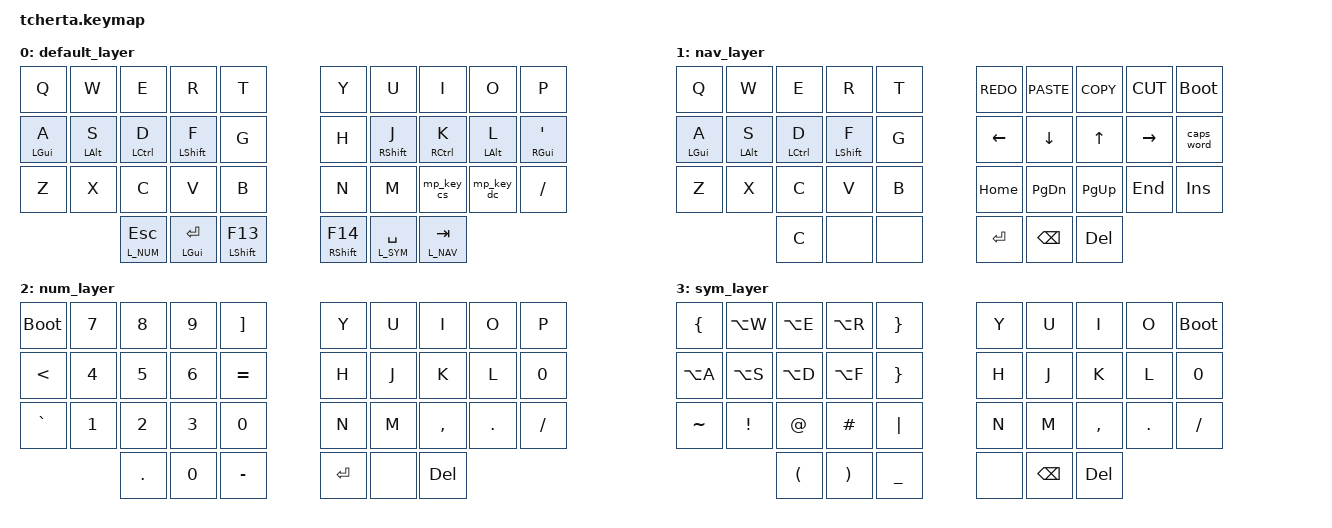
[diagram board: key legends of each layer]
/*
*
* Copyright (c) 2021 Darryl deHaan
* SPDX-License-Identifier: MIT
*
*/

#include <behaviors.dtsi>
#include <dt-bindings/zmk/keys.h>
#include <dt-bindings/zmk/bt.h>
#include "zmk-helpers/helper.h"

// layers
#define DEFAULT 0
#define L_NAV 1
#define L_NUM 2
#define L_SYM 3

/ {
    chosen {
        zmk,physical-layout = &physical_layout0;
    };
};

// Horizontal combos - left hand
// Should work fine, but some ansi-iso conflict forces to use the "grave"
// ZMK_COMBO(tilde, &kp NON_US_BSLH, 2 3, DEFAULT)
ZMK_COMBO(tilde, &kp GRAVE, 2 3, DEFAULT)

ZMK_COMBO(under, &kp UNDER, 22 23, DEFAULT)
//ZMK_COMBO(esc, &kp ESC, 26 27, DEFAULT)
ZMK_COMBO(tab, &kp TAB, 12 13, DEFAULT)

ZMK_COMBO(capsword, &caps_word, 30 35, DEFAULT)
ZMK_COMBO(sticky_shift, &skq LSHIFT, 31 34, DEFAULT)

// Horizontal combos - right hand
    //ZMK_COMBO(lpar_lt, &mp_lpar_lt, 32 33, DEFAULT)

// Those are geometrically natural, but it seems that DEL is pressed more easily,
// so I swapped them, BS is much more often neededed
//ZMK_COMBO(bspc, &kp BSPC, 19 20, DEFAULT)
//ZMK_COMBO(del, &kp DEL, 20 21, DEFAULT)
ZMK_COMBO(del, &kp DEL, 6 7, DEFAULT)
ZMK_COMBO(bspc, &kp BSPC, 7 8, DEFAULT)

ZMK_COMBO(lpar_lt, &mp_lpar_lt, 16 17, DEFAULT)
ZMK_COMBO(rpar_gt, &mp_rpar_gt, 17 18, DEFAULT)
ZMK_COMBO(lbrc_lbkt, &mp_lbrc_lbkt, 26 27, DEFAULT)
ZMK_COMBO(rbrc_rbkt, &mp_rbrc_rbkt, 27 28, DEFAULT)
ZMK_COMBO(pars, &mp_duo_par_ltgt, 16 17 18, DEFAULT)
ZMK_COMBO(bkts, &mp_duo_bkt, 26 27 28, DEFAULT)

// Vertical combos - left hand top row
ZMK_COMBO(excl, &kp EXCL, 0  10, DEFAULT)
ZMK_COMBO(at, &kp AT, 1 11, DEFAULT)
ZMK_COMBO(hash, &kp HASH, 2 12, DEFAULT)
ZMK_COMBO(dllr, &kp DLLR, 3 13, DEFAULT)
ZMK_COMBO(prcnt, &kp PRCNT, 4 14, DEFAULT)

// Vertical combos - left hand bottom row
ZMK_COMBO(grave, &kp GRAVE, 11 21, DEFAULT)
ZMK_COMBO(bslh, &kp BSLH, 12 22, DEFAULT)
ZMK_COMBO(equal, &kp EQUAL, 13 23, DEFAULT)

// Vertical combos - right hand top row
ZMK_COMBO(minus, &kp MINUS, 6 16, DEFAULT)
ZMK_COMBO(star, &kp STAR, 7 17, DEFAULT)
ZMK_COMBO(amps, &kp AMPS, 8 18, DEFAULT)

// Vertical combos - right hand bootom row
ZMK_COMBO(caret, &kp CARET, 15 25, DEFAULT)
ZMK_COMBO(plus, &kp PLUS, 16 26, DEFAULT)
ZMK_COMBO(fslh, &kp FSLH, 17 27, DEFAULT)
ZMK_COMBO(pipe, &kp PIPE, 18 28, DEFAULT)

/ {

    macros {
        macro_duo_kp: macro_duo_kp {
            compatible = "zmk,behavior-macro-two-param";
            #binding-cells = <2>;
            bindings = <&macro_param_1to1> , <&macro_tap &kp MACRO_PLACEHOLDER>
                     , <&macro_param_2to1> , <&macro_tap &kp MACRO_PLACEHOLDER>;
        };

        // A hack to make the ; (Shift-,) work. It doesn't work perfectly
        // (Shift- and continuout taps of , produce ;,,,,), but acceptable.
        semi_clean: semi_clean {
            compatible = "zmk,behavior-macro";
            #binding-cells = <0>;
            wait-ms = <10>;
            tap-ms = <10>;
            bindings
            = <&macro_release &kp LSHFT &kp RSHFT>
            , <&macro_press &kp SEMI>
            , <&macro_pause_for_release>
            , <&macro_release &kp SEMI>
            ;
        };

    };

    behaviors {

        // tap:     {}
        // shift:   []
        mp_duo_bkt: morph_duo_bkt {
            compatible = "zmk,behavior-mod-morph";
            #binding-cells = <0>;
            mods = <(MOD_LSFT|MOD_RSFT)>;
            bindings = <&macro_duo_kp LBRC RBRC>, <&macro_duo_kp LBKT RBKT>;
        };

        // tap:     ()
        // shift:   <>
        mp_duo_par_ltgt: morph_duo_par_ltgt {
            compatible = "zmk,behavior-mod-morph";
            #binding-cells = <0>;
            mods = <(MOD_LSFT|MOD_RSFT)>;
            bindings = <&macro_duo_kp LPAR RPAR>, <&macro_duo_kp LT GT>;
        };

        // tap:     {
        // shift:   [
        mp_lbrc_lbkt: morph_lbrc_lbkt {
            compatible = "zmk,behavior-mod-morph";
            #binding-cells = <0>;
            mods = <(MOD_LSFT|MOD_RSFT)>;
            bindings = <&kp LBRC>, <&kp LBKT>;
        };

        // tap:     }
        // shift:   ]
        mp_rbrc_rbkt: morph_rbrc_rbkt {
            compatible = "zmk,behavior-mod-morph";
            #binding-cells = <0>;
            mods = <(MOD_LSFT|MOD_RSFT)>;
            bindings = <&kp RBRC>, <&kp RBKT>;
        };

        // tap:     (
        // shift:   <
        mp_lpar_lt: morph_lpar_lt {
            compatible = "zmk,behavior-mod-morph";
            #binding-cells = <0>;
            mods = <(MOD_LSFT|MOD_RSFT)>;
            bindings = <&kp LPAR>, <&kp LT>;
        };

        // tap:     )
        // shift:   >
        mp_rpar_gt: morph_rpar_gt {
            compatible = "zmk,behavior-mod-morph";
            #binding-cells = <0>;
            mods = <(MOD_LSFT|MOD_RSFT)>;
            bindings = <&kp RPAR>, <&kp GT>;
        };

        // tap:     ,
        // shift:   ;
        /* this is ok in the clean OS, but conflicts with Karabiner
        mp_key_cs: morph_key_comma_semi {
            compatible = "zmk,behavior-mod-morph";
            #binding-cells = <0>;
            mods = <(MOD_LSFT|MOD_RSFT)>;
            bindings = <&kp COMMA>, <&kp SEMICOLON>;
        };
        */
        mp_key_cs: morph_key_comma_semi {
            compatible = "zmk,behavior-mod-morph";
            #binding-cells = <0>;
            mods = <(MOD_LSFT|MOD_RSFT)>;
            bindings = <&kp COMMA>, <&semi_clean>; // Använd makrot för Shift-lagret
        };

        // tap:     .
        // shift:   :
        /* This would work if not the Karabiner
        mp_key_dc: morph_key_dot_colon {
            compatible = "zmk,behavior-mod-morph";
            #binding-cells = <0>;
            mods = <(MOD_LSFT|MOD_RSFT)>;
            bindings = <&kp DOT>, <&kp COLON>;
        };
        */
        mp_key_dc: morph_key_dot_colon {
            compatible = "zmk,behavior-mod-morph";
            #binding-cells = <0>;
            bindings = <&kp DOT>, <&kp SEMI>;
            mods = <(MOD_LSFT|MOD_RSFT)>;
            keep-mods = <(MOD_LSFT|MOD_RSFT)>; // Colon is Shift-semicolon, so we must keep Shifts
        };

        hml: home_row_mod_left {
            compatible = "zmk,behavior-hold-tap";
            #binding-cells = <2>;
            flavor = "balanced";
            require-prior-idle-ms = <150>;
            tapping-term-ms = <280>;
            quick-tap-ms = <175>;
            bindings = <&kp>, <&kp>;
            hold-trigger-key-positions = < 5 6 7 8 9   15 16 17 18 19    25 26 27 28 29    33 34 35>;
            hold-trigger-on-release;
        };
        hmr: home_row_mod_right {
            compatible = "zmk,behavior-hold-tap";
            #binding-cells = <2>;
            flavor = "balanced";
            require-prior-idle-ms = <150>;
            tapping-term-ms = <280>;
            quick-tap-ms = <175>;
            bindings = <&kp>, <&kp>;
            hold-trigger-key-positions = < 0 1 2 3 4    10 11 12 13 14    20 21 22 23 24    30 31 32>;
            hold-trigger-on-release;
        };

        skq: sticky_key_quick_release {
            compatible = "zmk,behavior-sticky-key";
            #binding-cells = <1>;
            bindings = <&kp>;
            release-after-ms = <1000>;
            quick-release;
            ignore-modifiers;
        };
        dsk: dual_sticky_key {
            compatible = "zmk,behavior-hold-tap";
            #binding-cells = <2>;
            flavor = "balanced";
            require-prior-idle-ms = <150>;
            tapping-term-ms = <280>;
            quick-tap-ms = <175>;
            bindings = <&kp>, <&skq>;
            hold-trigger-on-release;
        };

    };

    keymap {
        compatible = "zmk,keymap";

        default_layer {
            bindings = <
&kp Q  &kp W  &kp E  &kp R  &kp T                                       &kp Y  &kp U   &kp I     &kp O   &kp P
&hml LGUI A  &hml LALT S &hml LCTRL D  &hml LSHIFT F  &kp G             &kp H  &hmr RSHIFT J   &hmr RCTRL K     &hmr LALT L   &hmr RGUI APOS
&kp Z  &kp X  &kp C   &kp V  &kp B                                      &kp N  &kp M   &mp_key_cs &mp_key_dc &kp FSLH
                 &lt L_NUM ESC &mt LGUI RET &mt LSHIFT F13              &mt RSHIFT F14 &lt L_SYM SPACE &lt L_NAV TAB
            >;
        };

        nav_layer {
            bindings = <
&kp Q      &kp W      &kp E       &kp R        &kp T               &kp K_REDO &kp K_PASTE &kp K_COPY  &kp K_CUT  &bootloader
&hml LGUI A &hml LALT S &hml LCTRL D &hml LSHIFT F &kp G          &kp LEFT   &kp DOWN    &kp UP      &kp RIGHT  &caps_word
&kp Z      &kp X      &kp C       &kp V        &kp B          &kp HOME   &kp PG_DN   &kp PG_UP   &kp END    &kp INS
                                            &kp C        &none &none         &kp RET &kp BSPC &kp DEL
            >;
        };

        num_layer {
            bindings = <
&bootloader &kp N7     &kp N8      &kp N9       &kp RBKT            &kp Y  &kp U   &kp I    &kp O   &kp P
&kp LT      &kp N4     &kp N5      &kp N6       &kp EQUAL           &kp H  &kp J   &kp K    &kp L   &kp N0
&kp GRAVE   &kp N1     &kp N2      &kp N3       &kp N0              &kp N  &kp M   &kp COMMA &kp DOT &kp FSLH
                                           &kp DOT      &kp N0      &kp MINUS  &kp RET &none &kp DEL
            >;
        };

        sym_layer {
            bindings = <
&kp LBRC   &kp LA(W)  &kp LA(E)   &kp LA(R)    &kp RBRC             &kp Y  &kp U   &kp I     &kp O   &bootloader
&kp LA(A)  &kp LA(S)  &kp LA(D)   &kp LA(F)    &kp RBRC             &kp H  &kp J   &kp K     &kp L   &kp N0
&kp TILDE  &kp EXCL   &kp AT_SIGN &kp HASH     &kp PIPE             &kp N  &kp M   &kp COMMA &kp DOT &kp FSLH
                      &kp LPAR    &kp RPAR     &kp UNDER            &none &kp BSPC &kp DEL
            >;
        };

    };
};
